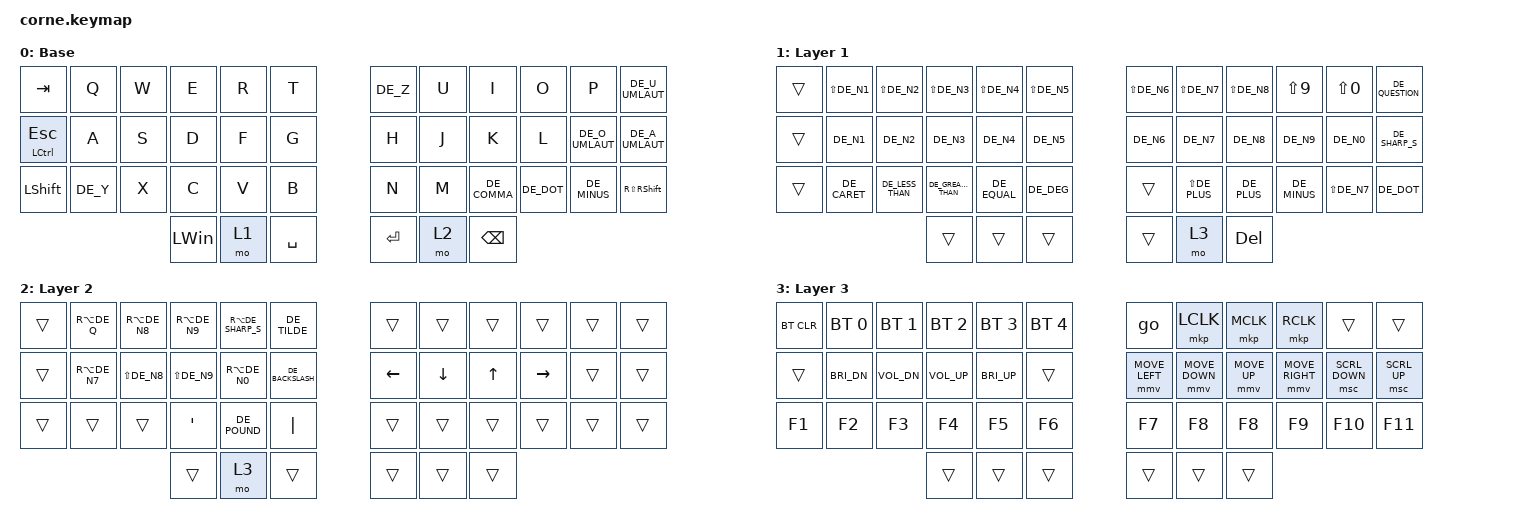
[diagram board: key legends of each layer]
/*
 * Copyright (c) 2020 The ZMK Contributors
 *
 * SPDX-License-Identifier: MIT
 */

#include "keys_de.h"
#include <behaviors.dtsi>
#include <dt-bindings/zmk/bt.h>
#include <dt-bindings/zmk/keys.h>
#include <dt-bindings/zmk/pointing.h>

/ {
    macros {
        go: go {
            compatible = "zmk,behavior-macro";
            #binding-cells = <0>;
            bindings = <&none &kp LS(P) &kp O &kp L &kp A &kp R &kp S &kp N2 &kp N1 &kp N0 &kp RET>;
            label = "GO";
        };
    };

    keymap {
        compatible = "zmk,keymap";

        default_layer {
            // -----------------------------------------------------------------------------------------
            // |  TAB |  Q  |  W  |  E  |  R  |  T  |   |  Y  |  U   |  I  |  O  |  P  | BKSP |
            // | CTRL |  A  |  S  |  D  |  F  |  G  |   |  H  |  J   |  K  |  L  |  ;  |  '   |
            // | SHFT |  Z  |  X  |  C  |  V  |  B  |   |  N  |  M   |  ,  |  .  |  /  | ESC  |
            //                    | GUI | LWR | SPC |   | ENT | RSE  | ALT |

            display-name = "Base";
            bindings = <
&kp TAB               &kp Q     &kp W  &kp E         &kp R  &kp T        &kp DE_Z  &kp U  &kp I          &kp O       &kp P            &kp DE_U_UMLAUT
&mt LEFT_CONTROL ESC  &kp A     &kp S  &kp D         &kp F  &kp G        &kp H     &kp J  &kp K          &kp L       &kp DE_O_UMLAUT  &kp DE_A_UMLAUT
&kp LSHFT             &kp DE_Y  &kp X  &kp C         &kp V  &kp B        &kp N     &kp M  &kp DE_COMMA   &kp DE_DOT  &kp DE_MINUS     &kp RS(RIGHT_SHIFT)
                                       &kp LEFT_WIN  &mo 1  &kp SPACE    &kp RET   &mo 2  &kp BACKSPACE
            >;
        };

        lower_layer {
            // -----------------------------------------------------------------------------------------
            // |  TAB |  1  |  2  |  3  |  4  |  5  |   |  6  |  7  |  8  |  9  |  0  | BKSP |
            // | BTCLR| BT1 | BT2 | BT3 | BT4 | BT5 |   | LFT | DWN |  UP | RGT |     |      |
            // | SHFT |     |     |     |     |     |   |     |     |     |     |     |      |
            //                    | GUI |     | SPC |   | ENT |     | ALT |

            display-name = "Layer 1";
            bindings = <
&trans  &kp LS(DE_N1)  &kp LS(DE_N2)     &kp LS(DE_N3)        &kp LS(DE_N4)  &kp LS(DE_N5)    &kp LS(DE_N6)  &kp LS(DE_N7)    &kp LS(DE_N8)  &kp LS(N9)    &kp LS(N0)     &kp DE_QUESTION
&trans  &kp DE_N1      &kp DE_N2         &kp DE_N3            &kp DE_N4      &kp DE_N5        &kp DE_N6      &kp DE_N7        &kp DE_N8      &kp DE_N9     &kp DE_N0      &kp DE_SHARP_S
&trans  &kp DE_CARET   &kp DE_LESS_THAN  &kp DE_GREATER_THAN  &kp DE_EQUAL   &kp DE_DEG       &trans         &kp LS(DE_PLUS)  &kp DE_PLUS    &kp DE_MINUS  &kp LS(DE_N7)  &kp DE_DOT
                                         &trans               &trans         &trans           &trans         &mo 3            &kp DELETE
            >;
        };

        raise_layer {
            // -----------------------------------------------------------------------------------------
            // |  TAB |  !  |  @  |  #  |  $  |  %  |   |  ^  |  &  |  *  |  (  |  )  | BKSP |
            // | CTRL |     |     |     |     |     |   |  -  |  =  |  [  |  ]  |  \  |  `   |
            // | SHFT |     |     |     |     |     |   |  _  |  +  |  {  |  }  | "|" |  ~   |
            //                    | GUI |     | SPC |   | ENT |     | ALT |

            display-name = "Layer 2";
            bindings = <
&trans  &kp RA(DE_Q)   &kp RA(DE_N8)  &kp RA(DE_N9)  &kp RA(DE_SHARP_S)  &kp DE_TILDE        &trans    &trans    &trans  &trans     &trans  &trans
&trans  &kp RA(DE_N7)  &kp LS(DE_N8)  &kp LS(DE_N9)  &kp RA(DE_N0)       &kp DE_BACKSLASH    &kp LEFT  &kp DOWN  &kp UP  &kp RIGHT  &trans  &trans
&trans  &trans         &trans         &kp APOS       &kp DE_POUND        &kp PIPE            &trans    &trans    &trans  &trans     &trans  &trans
                                      &trans         &mo 3               &trans              &trans    &trans    &trans
            >;
        };

        extra_1 {
            // -----------------------------------------------------------------------------------------
            // |  TAB |  1  |  2  |  3  |  4  |  5  |   |  6  |  7  |  8  |  9  |  0  | BKSP |
            // | BTCLR| BT1 | BT2 | BT3 | BT4 | BT5 |   | LFT | DWN |  UP | RGT |     |      |
            // | SHFT |     |     |     |     |     |   |     |     |     |     |     |      |
            //                    | GUI |     | SPC |   | ENT |     | ALT |

            display-name = "Layer 3";
            bindings = <
&bt BT_CLR  &bt BT_SEL 0  &bt BT_SEL 1  &bt BT_SEL 2  &bt BT_SEL 3  &bt BT_SEL 4    &go             &mkp LCLK       &mkp MCLK     &mkp RCLK        &trans          &trans
&trans      &kp C_BRI_DN  &kp C_VOL_DN  &kp C_VOL_UP  &kp C_BRI_UP  &trans          &mmv MOVE_LEFT  &mmv MOVE_DOWN  &mmv MOVE_UP  &mmv MOVE_RIGHT  &msc SCRL_DOWN  &msc SCRL_UP
&kp F1      &kp F2        &kp F3        &kp F4        &kp F5        &kp F6          &kp F7          &kp F8          &kp F8        &kp F9           &kp F10         &kp F11
                                        &trans        &trans        &trans          &trans          &trans          &trans
            >;
        };

        extra_2 { status = "reserved"; };

        extra_3 { status = "reserved"; };
    };
};
